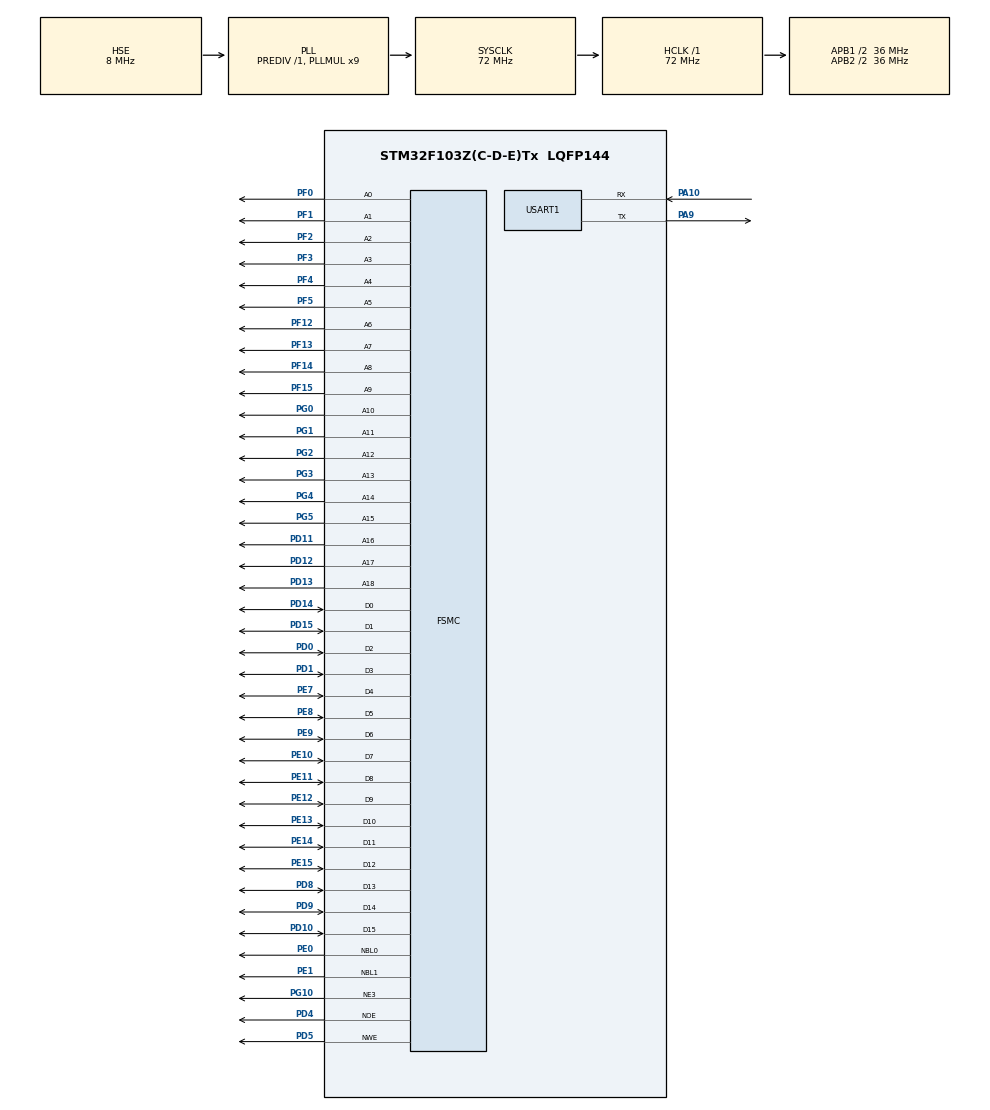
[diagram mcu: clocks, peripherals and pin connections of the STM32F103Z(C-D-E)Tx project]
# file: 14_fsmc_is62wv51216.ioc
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FSMC.DataSetupTime1=71
FSMC.WriteOperation1=FSMC_WRITE_OPERATION_ENABLE
Mcu.Family=STM32F1
Mcu.Name=STM32F103Z(C-D-E)Tx
Mcu.Package=LQFP144
NVIC.PriorityGroup=NVIC_PRIORITYGROUP_4
OSC_IN.Mode=HSE-External-Oscillator
OSC_IN.Signal=RCC_OSC_IN
OSC_OUT.Mode=HSE-External-Oscillator
OSC_OUT.Signal=RCC_OSC_OUT
PA10.Mode=Asynchronous
PA10.Signal=USART1_RX
PA13.Mode=Serial_Wire
PA13.Signal=SYS_JTMS-SWDIO
PA14.Mode=Serial_Wire
PA14.Signal=SYS_JTCK-SWCLK
PA9.Mode=Asynchronous
PA9.Signal=USART1_TX
PC14-OSC32_IN.Mode=LSE-External-Oscillator
PC14-OSC32_IN.Signal=RCC_OSC32_IN
PC15-OSC32_OUT.Mode=LSE-External-Oscillator
PC15-OSC32_OUT.Signal=RCC_OSC32_OUT
PD0.Signal=FSMC_D2_DA2
PD1.Signal=FSMC_D3_DA3
PD10.Signal=FSMC_D15_DA15
PD11.Signal=FSMC_A16_CLE
PD12.Signal=FSMC_A17_ALE
PD13.Signal=FSMC_A18
PD14.Signal=FSMC_D0_DA0
PD15.Signal=FSMC_D1_DA1
PD4.Signal=FSMC_NOE
PD5.Signal=FSMC_NWE
PD8.Signal=FSMC_D13_DA13
PD9.Signal=FSMC_D14_DA14
PE0.Signal=FSMC_NBL0
PE1.Signal=FSMC_NBL1
PE10.Signal=FSMC_D7_DA7
PE11.Signal=FSMC_D8_DA8
PE12.Signal=FSMC_D9_DA9
PE13.Signal=FSMC_D10_DA10
PE14.Signal=FSMC_D11_DA11
PE15.Signal=FSMC_D12_DA12
PE7.Signal=FSMC_D4_DA4
PE8.Signal=FSMC_D5_DA5
PE9.Signal=FSMC_D6_DA6
PF0.Signal=FSMC_A0
PF1.Signal=FSMC_A1
PF12.Signal=FSMC_A6
PF13.Signal=FSMC_A7
PF14.Signal=FSMC_A8
PF15.Signal=FSMC_A9
PF2.Signal=FSMC_A2
PF3.Signal=FSMC_A3
PF4.Signal=FSMC_A4
PF5.Signal=FSMC_A5
PG0.Signal=FSMC_A10
PG1.Signal=FSMC_A11
PG10.Mode=NorPsramChipSelect3_1
PG10.Signal=FSMC_NE3
PG2.Signal=FSMC_A12
PG3.Signal=FSMC_A13
PG4.Signal=FSMC_A14
PG5.Signal=FSMC_A15
ProjectManager.HeapSize=0x200
ProjectManager.StackSize=0x400
ProjectManager.TargetToolchain=CMake
RCC.AHBFreq_Value=72000000
RCC.APB1CLKDivider=RCC_HCLK_DIV2
RCC.APB1Freq_Value=36000000
RCC.APB1TimFreq_Value=72000000
RCC.APB2CLKDivider=RCC_HCLK_DIV2
RCC.APB2Freq_Value=36000000
RCC.APB2TimFreq_Value=72000000
RCC.HCLKFreq_Value=72000000
RCC.PLLMUL=RCC_PLL_MUL9
RCC.PLLSourceVirtual=RCC_PLLSOURCE_HSE
RCC.SYSCLKFreq_VALUE=72000000
RCC.SYSCLKSource=RCC_SYSCLKSOURCE_PLLCLK
RCC.USBFreq_Value=72000000
SH.FSMC_A0.0=FSMC_A0,19b-a1
SH.FSMC_A1.0=FSMC_A1,19b-a1
SH.FSMC_A10.0=FSMC_A10,19b-a1
SH.FSMC_A11.0=FSMC_A11,19b-a1
SH.FSMC_A12.0=FSMC_A12,19b-a1
SH.FSMC_A13.0=FSMC_A13,19b-a1
SH.FSMC_A14.0=FSMC_A14,19b-a1
SH.FSMC_A15.0=FSMC_A15,19b-a1
SH.FSMC_A16_CLE.0=FSMC_A16,19b-a1
SH.FSMC_A17_ALE.0=FSMC_A17,19b-a1
SH.FSMC_A18.0=FSMC_A18,19b-a1
SH.FSMC_A2.0=FSMC_A2,19b-a1
SH.FSMC_A3.0=FSMC_A3,19b-a1
SH.FSMC_A4.0=FSMC_A4,19b-a1
SH.FSMC_A5.0=FSMC_A5,19b-a1
SH.FSMC_A6.0=FSMC_A6,19b-a1
SH.FSMC_A7.0=FSMC_A7,19b-a1
SH.FSMC_A8.0=FSMC_A8,19b-a1
SH.FSMC_A9.0=FSMC_A9,19b-a1
SH.FSMC_D0_DA0.0=FSMC_D0,16b-d1
SH.FSMC_D10_DA10.0=FSMC_D10,16b-d1
SH.FSMC_D11_DA11.0=FSMC_D11,16b-d1
SH.FSMC_D12_DA12.0=FSMC_D12,16b-d1
SH.FSMC_D13_DA13.0=FSMC_D13,16b-d1
SH.FSMC_D14_DA14.0=FSMC_D14,16b-d1
SH.FSMC_D15_DA15.0=FSMC_D15,16b-d1
SH.FSMC_D1_DA1.0=FSMC_D1,16b-d1
SH.FSMC_D2_DA2.0=FSMC_D2,16b-d1
SH.FSMC_D3_DA3.0=FSMC_D3,16b-d1
SH.FSMC_D4_DA4.0=FSMC_D4,16b-d1
SH.FSMC_D5_DA5.0=FSMC_D5,16b-d1
SH.FSMC_D6_DA6.0=FSMC_D6,16b-d1
SH.FSMC_D7_DA7.0=FSMC_D7,16b-d1
SH.FSMC_D8_DA8.0=FSMC_D8,16b-d1
SH.FSMC_D9_DA9.0=FSMC_D9,16b-d1
SH.FSMC_NBL0.0=FSMC_NBL0,2ByteEnable1
SH.FSMC_NBL1.0=FSMC_NBL1,2ByteEnable1
SH.FSMC_NOE.0=FSMC_NOE,Sram1
SH.FSMC_NWE.0=FSMC_NWE,Sram1
USART1.VirtualMode=VM_ASYNC
board=custom

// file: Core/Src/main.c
/* USER CODE BEGIN Header */
/**
  ******************************************************************************
  * @file           : main.c
  * @brief          : Main program body
  ******************************************************************************
  * @attention
  *
  * Copyright (c) 2026 STMicroelectronics.
  * All rights reserved.
  *
  * This software is licensed under terms that can be found in the LICENSE file
  * in the root directory of this software component.
  * If no LICENSE file comes with this software, it is provided AS-IS.
  *
  ******************************************************************************
  */
/* USER CODE END Header */
#include "main.h"

#include <stdio.h>
#include <sys/types.h>

#include "usart.h"
#include "gpio.h"
#include "fsmc.h"
#include "is62wv51216.h"

void SystemClock_Config(void);

int main(void)
{

  /* MCU Configuration--------------------------------------------------------*/

  /* Reset of all peripherals, Initializes the Flash interface and the Systick. */
  HAL_Init();

  /* Configure the system clock */
  SystemClock_Config();

  /* Initialize all configured peripherals */
  MX_GPIO_Init();
  MX_FSMC_Init();
  MX_USART1_UART_Init();
  /* USER CODE BEGIN 2 */

  // 打印基准地址
  printf("SRAM BASE ADDR: 0x%08X\r\n", (uint32_t)SRAM_BASE_ADDR);

  uint32_t test_word0_addr = SRAM_BASE_ADDR + (0 << 1);
  printf("word0 physical addr: 0x%08X\r\n", test_word0_addr);

  uint32_t test_word1_addr = SRAM_BASE_ADDR + (1 << 1);
  printf("word1 physical addr: 0x%08X\r\n", test_word1_addr);

  // 测试1：单16位读写
  SRAM_WriteWord(0, 0xAABB);
  uint16_t val16 = SRAM_ReadWord(0);
  printf("read word0 = 0x%04X\r\n", val16);

  // 测试2：单字节读写
  SRAM_WriteByteLow(1, 0x11);
  SRAM_WriteByteHigh(1, 0x22);
  uint8_t b0 = SRAM_ReadByteLow(1);
  uint8_t b1 = SRAM_ReadByteHigh(1);
  printf("byte low = 0x%02X, byte high = 0x%02X\r\n", b0, b1);

  // 测试3：批量数组
  uint16_t wBuf[64] = {0};
  uint16_t rBuf[64] = {0};
  for(int i = 0; i < 64; i++) wBuf[i] = i;
  SRAM_WriteBurst(10, wBuf, 64);
  SRAM_ReadBurst(10, rBuf, 64);
  printf("rBuf[0] = %d, rBuf[10] = %d\r\n", rBuf[0], rBuf[10]);

  /* USER CODE END 2 */

  /* Infinite loop */
  while (1)
  {

  }
}

void SystemClock_Config(void)
{
  RCC_OscInitTypeDef RCC_OscInitStruct = {0};
  RCC_ClkInitTypeDef RCC_ClkInitStruct = {0};

  /** Initializes the RCC Oscillators according to the specified parameters
  * in the RCC_OscInitTypeDef structure.
  */
  RCC_OscInitStruct.OscillatorType = RCC_OSCILLATORTYPE_HSE;
  RCC_OscInitStruct.HSEState = RCC_HSE_ON;
  RCC_OscInitStruct.HSEPredivValue = RCC_HSE_PREDIV_DIV1;
  RCC_OscInitStruct.HSIState = RCC_HSI_ON;
  RCC_OscInitStruct.PLL.PLLState = RCC_PLL_ON;
  RCC_OscInitStruct.PLL.PLLSource = RCC_PLLSOURCE_HSE;
  RCC_OscInitStruct.PLL.PLLMUL = RCC_PLL_MUL9;
  if (HAL_RCC_OscConfig(&RCC_OscInitStruct) != HAL_OK)
  {
    Error_Handler();
  }

  /** Initializes the CPU, AHB and APB buses clocks
  */
  RCC_ClkInitStruct.ClockType = RCC_CLOCKTYPE_HCLK | RCC_CLOCKTYPE_SYSCLK
    | RCC_CLOCKTYPE_PCLK1 | RCC_CLOCKTYPE_PCLK2;
  RCC_ClkInitStruct.SYSCLKSource = RCC_SYSCLKSOURCE_PLLCLK;
  RCC_ClkInitStruct.AHBCLKDivider = RCC_SYSCLK_DIV1;
  RCC_ClkInitStruct.APB1CLKDivider = RCC_HCLK_DIV2;
  RCC_ClkInitStruct.APB2CLKDivider = RCC_HCLK_DIV2;

  if (HAL_RCC_ClockConfig(&RCC_ClkInitStruct, FLASH_LATENCY_2) != HAL_OK)
  {
    Error_Handler();
  }
}

void Error_Handler(void)
{
  __disable_irq();
  while (1)
  {
  }
}
